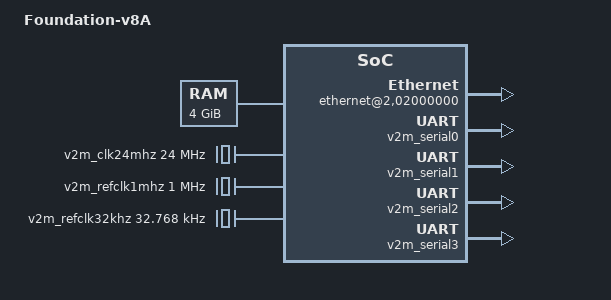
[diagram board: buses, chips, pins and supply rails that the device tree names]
/*
 * ARM Ltd.
 *
 * ARMv8 Foundation model DTS
 */
/dts-v1/;

/ {
	model = "Foundation-v8A";
	compatible = "arm,foundation-aarch64", "arm,vexpress";
	interrupt-parent = <&gic>;
	#address-cells = <2>;
	#size-cells = <2>;

	chosen { };

	aliases {
		serial0 = &v2m_serial0;
		serial1 = &v2m_serial1;
		serial2 = &v2m_serial2;
		serial3 = &v2m_serial3;
	};

	cpus {
		#address-cells = <2>;
		#size-cells = <0>;

		cpu@0 {
			device_type = "cpu";
			compatible = "arm,armv8";
			reg = <0x0 0x0>;
			next-level-cache = <&L2_0>;
		};

		L2_0: l2-cache0 {
			compatible = "cache";
		};
	};

	memory@80000000 {
		device_type = "memory";
		reg = <0x00000000 0x80000000 0 0x80000000>,
		      <0x00000008 0x80000000 0 0x80000000>;
	};

	timer {
		compatible = "arm,armv8-timer";
		interrupts = <1 13 0xf08>,
			     <1 14 0xf08>,
			     <1 11 0xf08>,
			     <1 10 0xf08>;
		clock-frequency = <100000000>;
	};

	pmu {
		compatible = "arm,armv8-pmuv3";
		interrupts = <0 60 4>,
			     <0 61 4>,
			     <0 62 4>,
			     <0 63 4>;
	};

	watchdog@2a440000 {
		compatible = "arm,sbsa-gwdt";
		reg = <0x0 0x2a440000 0 0x1000>,
			<0x0 0x2a450000 0 0x1000>;
		interrupts = <0 27 4>;
		timeout-sec = <30>;
	};

	smb@08000000 {
		compatible = "arm,vexpress,v2m-p1", "simple-bus";
		arm,v2m-memory-map = "rs1";
		#address-cells = <2>; /* SMB chipselect number and offset */
		#size-cells = <1>;

		ranges = <0 0 0 0x08000000 0x04000000>,
			 <1 0 0 0x14000000 0x04000000>,
			 <2 0 0 0x18000000 0x04000000>,
			 <3 0 0 0x1c000000 0x04000000>,
			 <4 0 0 0x0c000000 0x04000000>,
			 <5 0 0 0x10000000 0x04000000>;

		#interrupt-cells = <3>;

		ethernet@2,02000000 {
			compatible = "smsc,lan91c111";
			reg = <2 0x02000000 0x10000>;
			interrupts = <0 15 4>;
		};

		v2m_clk24mhz: clk24mhz {
			compatible = "fixed-clock";
			#clock-cells = <0>;
			clock-frequency = <24000000>;
			clock-output-names = "v2m:clk24mhz";
		};

		v2m_refclk1mhz: refclk1mhz {
			compatible = "fixed-clock";
			#clock-cells = <0>;
			clock-frequency = <1000000>;
			clock-output-names = "v2m:refclk1mhz";
		};

		v2m_refclk32khz: refclk32khz {
			compatible = "fixed-clock";
			#clock-cells = <0>;
			clock-frequency = <32768>;
			clock-output-names = "v2m:refclk32khz";
		};

		iofpga@3,00000000 {
			compatible = "simple-bus";
			#address-cells = <1>;
			#size-cells = <1>;
			ranges = <0 3 0 0x200000>;

			v2m_sysreg: sysreg@010000 {
				compatible = "arm,vexpress-sysreg";
				reg = <0x010000 0x1000>;
			};

			v2m_serial0: uart@090000 {
				compatible = "arm,pl011", "arm,primecell";
				reg = <0x090000 0x1000>;
				interrupts = <0 5 4>;
				clocks = <&v2m_clk24mhz>, <&v2m_clk24mhz>;
				clock-names = "uartclk", "apb_pclk";
			};

			v2m_serial1: uart@0a0000 {
				compatible = "arm,pl011", "arm,primecell";
				reg = <0x0a0000 0x1000>;
				interrupts = <0 6 4>;
				clocks = <&v2m_clk24mhz>, <&v2m_clk24mhz>;
				clock-names = "uartclk", "apb_pclk";
			};

			v2m_serial2: uart@0b0000 {
				compatible = "arm,pl011", "arm,primecell";
				reg = <0x0b0000 0x1000>;
				interrupts = <0 7 4>;
				clocks = <&v2m_clk24mhz>, <&v2m_clk24mhz>;
				clock-names = "uartclk", "apb_pclk";
			};

			v2m_serial3: uart@0c0000 {
				compatible = "arm,pl011", "arm,primecell";
				reg = <0x0c0000 0x1000>;
				interrupts = <0 8 4>;
				clocks = <&v2m_clk24mhz>, <&v2m_clk24mhz>;
				clock-names = "uartclk", "apb_pclk";
			};

			virtio_block@0130000 {
				compatible = "virtio,mmio";
				reg = <0x130000 0x200>;
				interrupts = <0 42 4>;
			};
		};
	};
};
